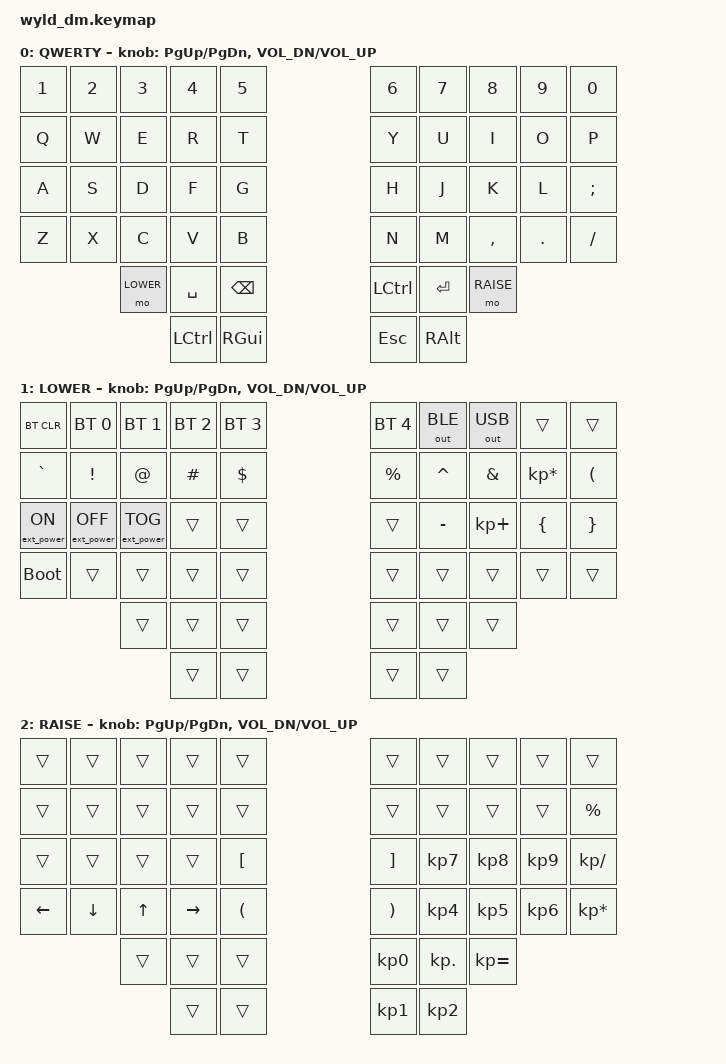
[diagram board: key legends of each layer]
/*
 * Copyright (c) 2020 The ZMK Contributors
 *
 * SPDX-License-Identifier: MIT
 */

#include <behaviors.dtsi>
#include <dt-bindings/zmk/keys.h>
#include <dt-bindings/zmk/bt.h>
#include <dt-bindings/zmk/outputs.h>
#include <dt-bindings/zmk/ext_power.h>

#define QWERTY 0
#define LOWER 1
#define RAISE 2

/ {
	keymap {
		compatible = "zmk,keymap";

		default_layer {
			display-name = "QWERTY";

			bindings = <
&kp N1 &kp N2 &kp N3   &kp N4   &kp N5                     &kp N6 &kp N7   &kp N8    &kp N9  &kp N0   
&kp Q  &kp W  &kp E    &kp R    &kp T                      &kp Y  &kp U    &kp I     &kp O   &kp P    
&kp A  &kp S  &kp D    &kp F    &kp G                      &kp H  &kp J    &kp K     &kp L   &kp SEMI 
&kp Z  &kp X  &kp C    &kp V    &kp B                      &kp N  &kp M    &kp COMMA &kp DOT &kp FSLH 
              &mo LOWER &kp SPACE  &kp BSPC           &kp LCTRL &kp ENTER  &mo RAISE 
                      &kp LCTRL &kp RGUI                &kp ESC  &kp RALT
			>;

			sensor-bindings = <&inc_dec_kp PG_UP PG_DN &inc_dec_kp C_VOL_DN C_VOL_UP>;
		};

		lower_layer {
			display-name = "LOWER";

			bindings = <
&bt BT_CLR &bt BT_SEL 0 &bt BT_SEL 1 &bt BT_SEL 2 &bt BT_SEL 3                      &bt BT_SEL 4 &out OUT_BLE &out OUT_USB &trans &trans
&kp GRAVE  &kp EXCL     &kp AT       &kp HASH     &kp DOLLAR                        &kp PRCNT    &kp CARET    &kp AMPS     &kp KP_MULTIPLY &kp LPAR
&ext_power EP_ON &ext_power EP_OFF &ext_power EP_TOG &trans &trans                  &trans      &kp MINUS    &kp KP_PLUS  &kp LBRC &kp RBRC
&bootloader &trans      &trans       &trans       &trans                            &trans       &trans       &trans       &trans  &trans
                                                   &trans &trans &trans          &trans &trans &trans
                                                        &trans &trans                &trans &trans
			>;

            sensor-bindings = <&inc_dec_kp PG_UP PG_DN &inc_dec_kp C_VOL_DN C_VOL_UP>;
		};

		raise_layer {
			display-name = "RAISE";

			bindings = <
&trans    &trans   &trans   &trans    &trans                &trans   &trans    &trans    &trans    &trans
&trans    &trans   &trans   &trans    &trans                &trans   &trans    &trans    &trans    &kp PRCNT
&trans    &trans   &trans   &trans    &kp LBKT              &kp RBKT &kp KP_N7 &kp KP_N8 &kp KP_N9 &kp KP_DIVIDE
&kp LEFT  &kp DOWN &kp UP   &kp RIGHT &kp LPAR              &kp RPAR &kp KP_N4 &kp KP_N5 &kp KP_N6 &kp KP_MULTIPLY
                              &trans &trans &trans       &kp KP_N0 &kp KP_DOT &kp KP_EQUAL
                                  &trans &trans              &kp KP_N1 &kp KP_N2
			>;

            sensor-bindings = <&inc_dec_kp PG_UP PG_DN &inc_dec_kp C_VOL_DN C_VOL_UP>;
		};
	};
};
